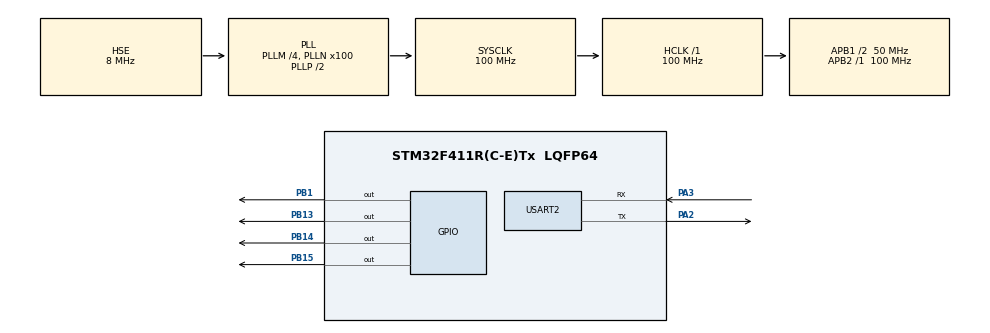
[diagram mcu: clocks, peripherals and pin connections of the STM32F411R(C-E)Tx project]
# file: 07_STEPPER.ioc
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Mcu.Family=STM32F4
Mcu.Name=STM32F411R(C-E)Tx
Mcu.Package=LQFP64
NVIC.PriorityGroup=NVIC_PRIORITYGROUP_4
NVIC.USART2_IRQn=true\:0\:0\:false\:false\:true\:true\:true\:true
PA13.Mode=Serial_Wire
PA13.Signal=SYS_JTMS-SWDIO
PA14.Mode=Serial_Wire
PA14.Signal=SYS_JTCK-SWCLK
PA2.Mode=Asynchronous
PA2.Signal=USART2_TX
PA3.Mode=Asynchronous
PA3.Signal=USART2_RX
PB1.Signal=GPIO_Output
PB13.Signal=GPIO_Output
PB14.Signal=GPIO_Output
PB15.Signal=GPIO_Output
PH0\ -\ OSC_IN.Mode=HSE-External-Clock-Source
PH0\ -\ OSC_IN.Signal=RCC_OSC_IN
PH1\ -\ OSC_OUT.Mode=HSE-External-Clock-Source
PH1\ -\ OSC_OUT.Signal=RCC_OSC_OUT
ProjectManager.HeapSize=0x200
ProjectManager.StackSize=0x400
ProjectManager.TargetToolchain=STM32CubeIDE
RCC.48MHZClocksFreq_Value=50000000
RCC.AHBFreq_Value=100000000
RCC.APB1CLKDivider=RCC_HCLK_DIV2
RCC.APB1Freq_Value=50000000
RCC.APB1TimFreq_Value=100000000
RCC.APB2Freq_Value=100000000
RCC.APB2TimFreq_Value=100000000
RCC.CortexFreq_Value=100000000
RCC.HCLKFreq_Value=100000000
RCC.HSE_VALUE=8000000
RCC.HSI_VALUE=16000000
RCC.LSE_VALUE=32768
RCC.PLLM=4
RCC.PLLN=100
RCC.PLLSourceVirtual=RCC_PLLSOURCE_HSE
RCC.SYSCLKFreq_VALUE=100000000
RCC.SYSCLKSource=RCC_SYSCLKSOURCE_PLLCLK
RCC.VCOOutputFreq_Value=200000000
USART2.VirtualMode=VM_ASYNC
board=custom

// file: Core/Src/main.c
/* USER CODE BEGIN Header */
/**
  ******************************************************************************
  * @file           : main.c
  * @brief          : Main program body
  ******************************************************************************
  * @attention
  *
  * Copyright (c) 2026 STMicroelectronics.
  * All rights reserved.
  *
  * This software is licensed under terms that can be found in the LICENSE file
  * in the root directory of this software component.
  * If no LICENSE file comes with this software, it is provided AS-IS.
  *
  ******************************************************************************
  */
/* USER CODE END Header */

#include "main.h"
#include "usart.h"
#include "gpio.h"

/* USER CODE BEGIN Includes */

#include "stepper.h"   // 사용자 스텝모터 제어 함수/매크로(DIR_CW, DIR_CCW, rotateDegrees 등)
#include <string.h>    // strncmp 등 문자열 비교
#include <stdlib.h>    // atoi: 문자열 -> 정수 변환

/* USER CODE END Includes */

/* USER CODE BEGIN PTD */
/* (사용자 typedef 필요 시 여기에 작성) */
/* USER CODE END PTD */

/* USER CODE BEGIN PD */
/* (사용자 define 필요 시 여기에 작성) */
/* USER CODE END PD */

/* USER CODE BEGIN PM */
/* (사용자 macro 필요 시 여기에 작성) */
/* USER CODE END PM */

/* USER CODE BEGIN PV */

/**
 * rxData:
 *  - UART로 들어온 한 줄(line) 명령을 저장하는 버퍼
 *  - 예: "CW 180" / "CCW 90" 같은 문자열이 여기에 누적됨
 *
 * 크기 256:
 *  - 한 줄 명령 최대 길이를 255바이트로 제한(마지막 '\0' 포함해야 하므로)
 */
uint8_t rxData[256];

/**
 * idx:
 *  - rxData에 몇 글자 쌓였는지 가리키는 인덱스
 *  - interrupt callback(수신 콜백)에서 계속 증가함

 */
uint16_t idx = 0;

/**
 * rxChar:
 *  - 인터럽트로 1바이트 수신할 때 그 1바이트를 저장하는 변수
 *  - HAL_UART_Receive_IT(&huart2, &rxChar, 1) 로 매번 1byte씩 받음
 */
uint8_t rxChar;

/**
 * Flag:
 *  - "한 줄 명령 수신 완료" 신호
 *  - 콜백(인터럽트)에서 '\r' 또는 '\n'을 만나고 idx>0이면 Flag=1로 세팅
 *  - main 루프에서 Flag를 보고 파싱/모터제어 수행 후 Flag=0으로 클리어
 */
uint8_t Flag = 0;

/* USER CODE END PV */

void SystemClock_Config(void);

/* USER CODE BEGIN PFP */

/**
 * @brief UART 수신 완료 인터럽트 콜백
 *
 * 동작 개요:
 *  - USART2에서 1바이트 수신될 때마다 이 콜백이 호출됨
 *  - rxChar에 들어온 문자를 보고:
 *      1) '\r' 또는 '\n'이면 "한 줄 끝"으로 판단
 *         - idx>0 (빈 줄이 아니면) rxData를 문자열로 마감('\0')하고 Flag=1
 *         - idx를 0으로 되돌려 다음 줄을 받을 준비
 *      2) 일반 문자면 rxData[idx]에 저장하고 idx 증가
 *  - 마지막에 HAL_UART_Receive_IT()를 다시 호출해서 다음 1바이트 수신을 재등록
 *
 */
void HAL_UART_RxCpltCallback(UART_HandleTypeDef *huart)
{
    // 여러 UART가 있을 수 있으니 "USART2 수신"일 때만 처리
    if (huart->Instance == USART2)
    {
        // 줄바꿈 문자를 만나면 한 줄 입력이 끝난 것으로 처리
        if (rxChar == '\r' || rxChar == '\n')
        {
            // 빈 줄(연속 줄바꿈 등)은 무시: idx>0인 경우만 명령으로 인정
            if (idx > 0)
            {
                // C 문자열 처리를 위해 널 종료 문자 추가
                rxData[idx] = '\0';

                // main 루프에 "명령 하나 도착"을 알림
                Flag = 1;

                // 다음 명령을 새로 받기 위해 인덱스 초기화
                idx = 0;
            }
        }
        else
        {
            // 줄바꿈이 아닌 일반 문자라면 버퍼에 누적
            if (idx < sizeof(rxData) - 1)
            {
                // 버퍼에 저장하고 다음 위치로 이동
                rxData[idx++] = rxChar;
            }
            else
            {
            	//Overflow 방지
                idx = 0;
            }
        }

        // ★ 핵심: 다음 1바이트 수신 인터럽트를 다시 걸어줘야 계속 수신됨
        // 이 호출이 없으면 1바이트 받고 끝나버림
        HAL_UART_Receive_IT(&huart2, &rxChar, 1);
    }
}

/* USER CODE END PFP */

/* USER CODE BEGIN 0 */
/* (main 이전에 사용자 함수/변수 필요 시 여기에 작성) */
/* USER CODE END 0 */

int main(void)
{
  /* USER CODE BEGIN 1 */
  /* (HAL_Init 전에 필요한 사용자 초기화가 있으면 여기에) */
  /* USER CODE END 1 */

  /* MCU Configuration--------------------------------------------------------*/

  /**
   * HAL_Init():
   *  - HAL 라이브러리 초기화
   *  - SysTick(1ms tick) 설정
   *  - NVIC priority 그룹 등 기본 설정
   */
  HAL_Init();

  /* USER CODE BEGIN Init */
  /* (추가 초기화 필요 시 여기에) */
  /* USER CODE END Init */

  /**
   * 시스템 클럭 설정:
   *  - PLL 등 설정을 통해 CPU/버스 클럭을 구성
   *  - 타이밍(Delay, UART baud 등)에 직접 영향
   */
  SystemClock_Config();

  /* USER CODE BEGIN SysInit */
  /* (클럭 설정 직후 추가 설정 필요 시 여기에) */
  /* USER CODE END SysInit */

  /* Initialize all configured peripherals */

  /**
   * GPIO 초기화:
   *  - CubeMX에서 설정한 핀 모드/풀업/속도/출력상태 적용
   */
  MX_GPIO_Init();

  /**
   * USART2 초기화:
   *  - CubeMX 설정 기반으로 baudrate, word length, stop bit 등 적용
   */
  MX_USART2_UART_Init();

  /* USER CODE BEGIN 2 */

  /**
   * UART 인터럽트 수신 시작:
   *  - 1바이트 수신 완료 시 HAL_UART_RxCpltCallback()이 호출됨
   *  - 이후 콜백 안에서 다시 Receive_IT를 걸어 연속 수신 유지
   */
  HAL_UART_Receive_IT(&huart2, &rxChar, 1);

  /* USER CODE END 2 */

  /* Infinite loop */
  /* USER CODE BEGIN WHILE */
  while (1)
  {
      /**
       * Flag == 1:
       *  - 콜백에서 "한 줄 수신 완료"로 만들어준 상태
       *  - 여기서 문자열을 파싱하고 스텝모터 동작 수행
       */
	  if (Flag)
	  {
	      // 일단 플래그를 즉시 내림(중복 처리 방지)
	      // (주의) 처리 중 새 명령이 들어오면 Flag가 다시 1이 될 수 있음.
	      Flag = 0;

	      uint8_t direction;  // DIR_CW / DIR_CCW 저장
	      int value;          // "CW 180"이면 180 같은 숫자 값

	      /**
	       * 명령 포맷(예시):
	       *  - "CW 180"
	       *  - "CCW 90"
	       *
	       * strncmp:
	       *  - 문자열 앞부분이 특정 패턴인지 비교
	       *  - "CW "는 앞 3글자, "CCW "는 앞 4글자를 비교
	       */

	      // "CW "로 시작하면 시계방향
	      if (strncmp((char *)rxData, "CW ", 3) == 0)
	      {
	          direction = DIR_CW;

	          // "CW " 다음부터 숫자 문자열이 오므로 +3
	          // 예: "CW 180" -> atoi("180") -> 180
	          value = atoi((char *)rxData + 3);

	          // value도를 direction 방향으로 회전
	          // (rotateDegrees 내부가 blocking이면 이 동안 다음 명령 처리는 늦어짐)
	          rotateDegrees(value, direction);
	      }
	      // "CCW "로 시작하면 반시계방향
	      else if (strncmp((char *)rxData, "CCW ", 4) == 0)
	      {
	          direction = DIR_CCW;

	          // "CCW " 다음부터 숫자 파싱이므로 +4
	          value = atoi((char *)rxData + 4);

	          rotateDegrees(value, direction);
	      }
	      else
	      {
	          /**
	           * 정의되지 않은 명령이면 여기로 옴
	           * 필요하면:
	           *  - "ERR\r\n" 같은 응답을 UART로 보내기
	           *  - 사용 가능한 명령 안내 출력
	           */
	      }
	  }

    /* USER CODE END WHILE */

    /* USER CODE BEGIN 3 */
      // 메인 루프에서 계속 반복 수행할 코드가 있으면 여기에 추가
  }
  /* USER CODE END 3 */
}

void SystemClock_Config(void)
{
  RCC_OscInitTypeDef RCC_OscInitStruct = {0};
  RCC_ClkInitTypeDef RCC_ClkInitStruct = {0};

  // 전원 컨트롤 클럭 활성화(전압 스케일 설정을 위해 필요)
  __HAL_RCC_PWR_CLK_ENABLE();

  // 전압 스케일 설정(클럭 속도에 맞는 전력/성능 설정)
  __HAL_PWR_VOLTAGESCALING_CONFIG(PWR_REGULATOR_VOLTAGE_SCALE1);

  /**
   * RCC 오실레이터/PLL 설정
   */
  RCC_OscInitStruct.OscillatorType = RCC_OSCILLATORTYPE_HSE; // 외부 고속 클럭(HSE) 사용
  RCC_OscInitStruct.HSEState = RCC_HSE_BYPASS;              // 크리스탈이 아니라 외부 클럭 입력을 bypass로 받음
  RCC_OscInitStruct.PLL.PLLState = RCC_PLL_ON;              // PLL 사용
  RCC_OscInitStruct.PLL.PLLSource = RCC_PLLSOURCE_HSE;      // PLL 입력은 HSE
  RCC_OscInitStruct.PLL.PLLM = 4;                           // PLL 입력 분주
  RCC_OscInitStruct.PLL.PLLN = 100;                         // PLL 배수
  RCC_OscInitStruct.PLL.PLLP = RCC_PLLP_DIV2;               // PLL 출력 분주(시스템 클럭용)
  RCC_OscInitStruct.PLL.PLLQ = 4;                           // USB/SDIO/RNG 등에 쓰는 분주 값(필요 시)
  if (HAL_RCC_OscConfig(&RCC_OscInitStruct) != HAL_OK)
  {
    Error_Handler();
  }

  /**
   * 버스 클럭 설정(AHB/APB)
   */
  RCC_ClkInitStruct.ClockType = RCC_CLOCKTYPE_HCLK|RCC_CLOCKTYPE_SYSCLK
                              |RCC_CLOCKTYPE_PCLK1|RCC_CLOCKTYPE_PCLK2;
  RCC_ClkInitStruct.SYSCLKSource = RCC_SYSCLKSOURCE_PLLCLK; // SYSCLK=PLLCLK
  RCC_ClkInitStruct.AHBCLKDivider = RCC_SYSCLK_DIV1;        // HCLK=SYSCLK/1
  RCC_ClkInitStruct.APB1CLKDivider = RCC_HCLK_DIV2;         // PCLK1=HCLK/2 (저속 APB)
  RCC_ClkInitStruct.APB2CLKDivider = RCC_HCLK_DIV1;         // PCLK2=HCLK/1 (고속 APB)

  // FLASH latency(대기 사이클)도 클럭에 맞게 설정해야 안정적으로 동작
  if (HAL_RCC_ClockConfig(&RCC_ClkInitStruct, FLASH_LATENCY_3) != HAL_OK)
  {
    Error_Handler();
  }
}

/* USER CODE BEGIN 4 */
/* (추가 사용자 코드 필요 시 여기에) */
/* USER CODE END 4 */

void Error_Handler(void)
{
  __disable_irq();
  while (1)
  {
  }
}
